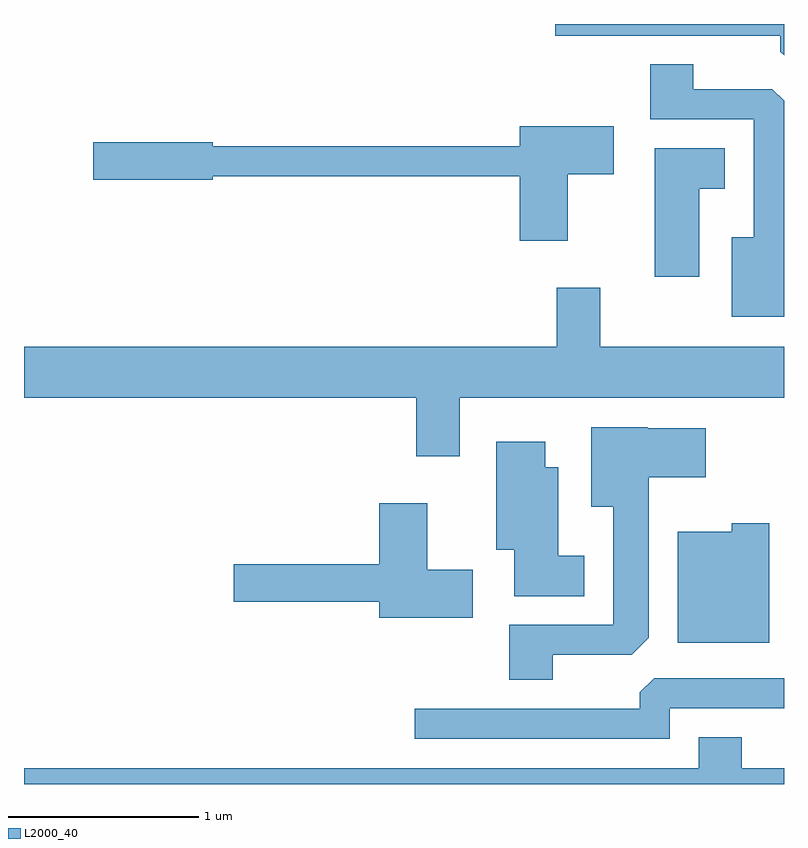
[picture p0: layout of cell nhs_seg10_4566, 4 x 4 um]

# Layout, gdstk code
import gdstk
lib = gdstk.Library(unit=1e-6, precision=1e-09)
def P(c, l, *ps):  # polygons
    for p in ps: c.add(gdstk.Polygon(p, *l))
L2000_40 = (2000, 40)

nhs_seg10_4566 = lib.new_cell('nhs_seg10_4566')
P(nhs_seg10_4566, L2000_40, [(323.611,2142.522),(322.408,2142.522),(322.408,2142.461),(323.591,2142.461),(323.591,2142.377),(323.611,2142.357)],
  [(323.611,2142.117),(323.549,2142.179),(323.134,2142.179),(323.134,2142.309),(322.906,2142.309),(322.906,2142.021),(323.451,2142.021),(323.451,2141.399),(323.336,2141.399),(323.336,2140.981),(323.611,2140.981)],
  [(322.474,2141.731),(322.714,2141.731),(322.714,2141.984),(322.221,2141.984),(322.221,2141.879),(320.604,2141.879),(320.604,2141.899),(319.976,2141.899),(319.976,2141.701),(320.604,2141.701),(320.604,2141.721),(322.221,2141.721),(322.221,2141.381),(322.474,2141.381)],
  [(323.164,2141.656),(323.299,2141.656),(323.299,2141.869),(322.931,2141.869),(322.931,2141.191),(323.164,2141.191)],
  [(321.904,2140.556),(323.611,2140.556),(323.611,2140.824),(322.644,2140.824),(322.644,2141.134),(322.416,2141.134),(322.416,2140.824),(319.611,2140.824),(319.611,2140.556),(321.676,2140.556),(321.676,2140.246),(321.904,2140.246)],
  [(322.394,2139.201),(322.809,2139.201),(322.899,2139.292),(322.899,2140.136),(323.199,2140.136),(323.199,2140.394),(322.895,2140.394),(322.895,2140.399),(322.596,2140.399),(322.596,2139.981),(322.711,2139.981),(322.711,2139.359),(322.166,2139.359),(322.166,2139.071),(322.394,2139.071)],
  [(322.559,2139.724),(322.424,2139.724),(322.424,2140.189),(322.354,2140.189),(322.354,2140.324),(322.096,2140.324),(322.096,2139.756),(322.191,2139.756),(322.191,2139.511),(322.559,2139.511)],
  [(321.974,2139.649),(321.734,2139.649),(321.734,2139.999),(321.481,2139.999),(321.481,2139.679),(320.716,2139.679),(320.716,2139.481),(321.481,2139.481),(321.481,2139.396),(321.974,2139.396)],
  [(323.534,2139.894),(323.336,2139.894),(323.336,2139.849),(323.051,2139.849),(323.051,2139.266),(323.534,2139.266)],
  [(323.009,2138.921),(323.611,2138.921),(323.611,2139.079),(322.927,2139.079),(322.851,2139.004),(322.851,2138.919),(321.668,2138.919),(321.668,2138.761),(323.009,2138.761)],
  [(323.611,2138.604),(323.389,2138.604),(323.389,2138.769),(323.161,2138.769),(323.161,2138.604),(319.611,2138.604),(319.611,2138.522),(323.611,2138.522)])

lib.write_gds('nhs_seg10_4566.gds')
